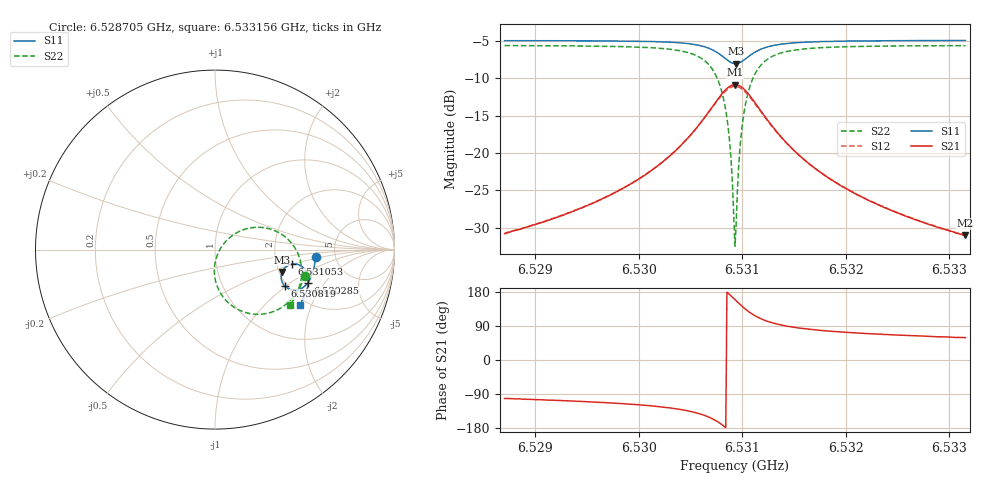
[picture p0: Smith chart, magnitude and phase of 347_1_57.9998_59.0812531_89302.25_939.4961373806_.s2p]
#  HZ  S  RI  R  50.00
! Rohde & Schwarz Vector Network Analyzer
! Rohde-Schwarz,ZNB20-2Port,1311601062101988,3.16
! Created: UTC 3/21/2024, 1:05:51 AM
! freq[Hz]  re:S11  im:S11  re:S21  im:S21  re:S12  im:S12  re:S22  im:S22
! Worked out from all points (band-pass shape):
!   401 points, 6.528705 GHz to 6.533156 GHz, reference 50 ohm
!   highest |S21| = -10.87 dB at 6.530931 GHz (marker M1); lowest = -31.0 dB at 6.533156 GHz (marker M2)
!   |S21| within 3 dB of the highest: 6.530709 GHz to 6.531154 GHz (445.1 kHz wide, 0.00682 % of centre)
!   lowest |S11| = -8.1 dB at 6.530942 GHz (marker M3), VSWR 2.30, Z = 104 - j30.7 ohm
!   |S11| at or under -10 dB: nowhere
!   |S22| runs from -32.4 to -5.7 dB; largest |S21 - S12| = 0.011
!   S11 on the Smith chart (normalised r, x): 6.528705 GHz: 3.51, -0.42; 6.530285 GHz: 2.62, -1.38; 6.530819 GHz: 1.95, -0.97; 6.531053 GHz: 2.43, -0.49; 6.533156 GHz: 1.82, -1.65
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6.5287054e9  0.56 -0.0411  -0.00583 -0.0284  -0.00632 -0.0284  0.5005 -0.1444
6.5294509e9  0.5512 -0.1023  -0.0143 -0.0405  -0.0153 -0.0403  0.4723 -0.2119
6.5301963e9  0.5245 -0.1739  -0.0453 -0.0699  -0.0472 -0.0688  0.3965 -0.3049
6.5302853e9  0.5181 -0.184  -0.0547 -0.0759  -0.0567 -0.0745  0.3766 -0.3195
6.5304856e9  0.4939 -0.2085  -0.09 -0.0912  -0.0926 -0.0882  0.3057 -0.3516
6.5306525e9  0.4548 -0.2252  -0.1511 -0.095  -0.1533 -0.0892  0.1925 -0.3561
6.5307526e9  0.4163 -0.2209  -0.2109 -0.0721  -0.2107 -0.0638  0.0903 -0.3096
6.5308193e9  0.3875 -0.2016  -0.2538 -0.0284  -0.2498 -0.0194  0.0235 -0.2297
6.530875e9  0.3709 -0.1709  -0.2753 0.031  -0.2678 0.0384  -0.0036 -0.127
6.5309084e9  0.3685 -0.148  -0.2746 0.0733  -0.2657 0.0788  0.00409 -0.0572
6.5309195e9  0.3695 -0.1403  -0.2716 0.0876  -0.2624 0.0921  0.0113 -0.0342
6.5309306e9  0.3713 -0.1326  -0.2673 0.1015  -0.2578 0.1052  0.0207 -0.012
6.5309417e9  0.3738 -0.1251  -0.2615 0.115  -0.252 0.1177  0.0322 0.0091
6.5309529e9  0.3772 -0.1179  -0.2544 0.1278  -0.2449 0.1296  0.0459 0.029
6.5309751e9  0.386 -0.1053  -0.2368 0.1505  -0.228 0.1508  0.0782 0.0635
6.5309974e9  0.3971 -0.0949  -0.2163 0.1688  -0.208 0.1678  0.1153 0.0906
6.531053e9  0.4283 -0.0813  -0.1597 0.1939  -0.1541 0.1914  0.2131 0.1231
6.5311309e9  0.4665 -0.0847  -0.0924 0.1922  -0.0894 0.1897  0.3265 0.1081
6.5312421e9  0.499 -0.1071  -0.0355 0.1629  -0.034 0.1615  0.4189 0.0446
6.531676e9  0.5201 -0.1827  0.0138 0.0805  0.0148 0.0803  0.4829 -0.1309
6.5324215e9  0.4996 -0.2557  0.0165 0.0385  0.0172 0.0383  0.4552 -0.246
6.5331558e9  0.4712 -0.3092  0.0146 0.0242  0.015 0.0239  0.4196 -0.3081
